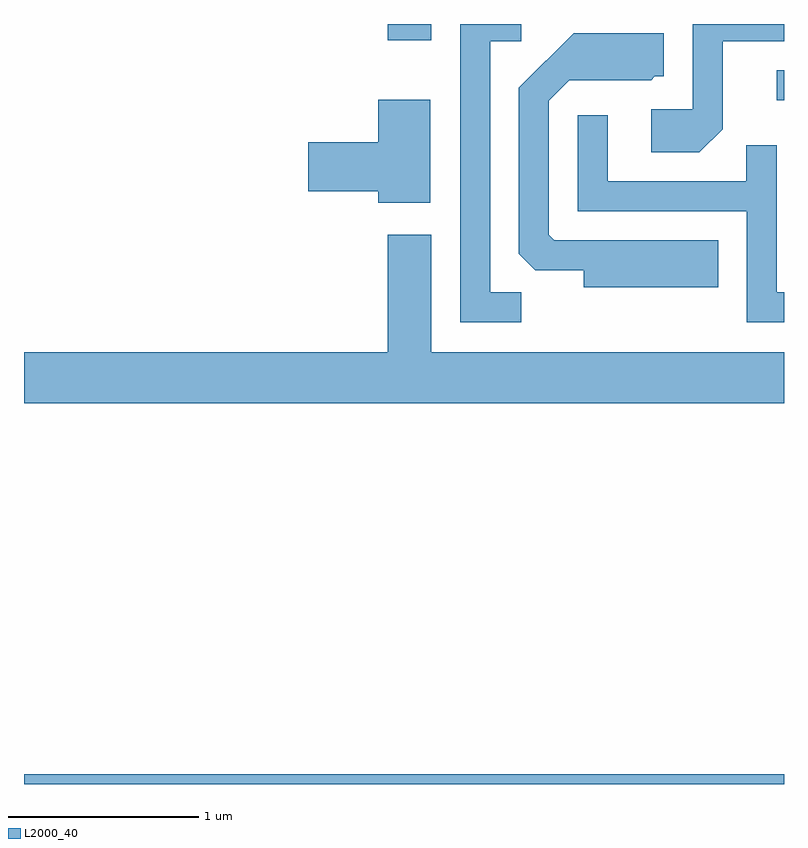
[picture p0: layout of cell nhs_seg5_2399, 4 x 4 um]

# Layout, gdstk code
import gdstk
lib = gdstk.Library(unit=1e-6, precision=1e-09)
def R(c, l, rs):  # rectangles x0, y0, x1, y1
    for r in rs: c.add(gdstk.rectangle(r[:2], r[2:], *l))
def P(c, l, *ps):  # polygons
    for p in ps: c.add(gdstk.Polygon(p, *l))
L2000_40 = (2000, 40)

nhs_seg5_2399 = lib.new_cell('nhs_seg5_2399')
R(nhs_seg5_2399, L2000_40, [(255.611,1508.072,259.611,1508.124), (259.573,1511.671,259.611,1511.829), (257.526,1511.986,257.754,1512.072)])
P(nhs_seg5_2399, L2000_40, [(259.289,1511.519),(259.289,1511.981),(259.611,1511.981),(259.611,1512.072),(259.131,1512.072),(259.131,1511.624),(258.911,1511.624),(258.911,1511.396),(259.166,1511.396)],
  [(258.228,1510.659),(258.064,1510.659),(258.064,1511.981),(258.228,1511.981),(258.228,1512.072),(257.906,1512.072),(257.906,1510.501),(258.228,1510.501)],
  [(259.264,1510.934),(258.402,1510.934),(258.374,1510.962),(258.374,1511.669),(258.481,1511.776),(258.912,1511.776),(258.932,1511.796),(258.979,1511.796),(258.979,1512.024),(258.504,1512.024),(258.216,1511.737),(258.216,1510.862),(258.302,1510.776),(258.556,1510.776),(258.556,1510.686),(259.264,1510.686)],
  [(257.749,1511.674),(257.476,1511.674),(257.476,1511.449),(257.106,1511.449),(257.106,1511.191),(257.476,1511.191),(257.476,1511.131),(257.749,1511.131)],
  [(259.611,1510.659),(259.574,1510.659),(259.574,1511.433),(259.411,1511.433),(259.411,1511.244),(258.684,1511.244),(258.684,1511.593),(258.526,1511.593),(258.526,1511.086),(259.416,1511.086),(259.416,1510.501),(259.611,1510.501)],
  [(259.611,1510.344),(257.754,1510.344),(257.754,1510.964),(257.526,1510.964),(257.526,1510.344),(255.611,1510.344),(255.611,1510.076),(259.611,1510.076)])

lib.write_gds('nhs_seg5_2399.gds')
